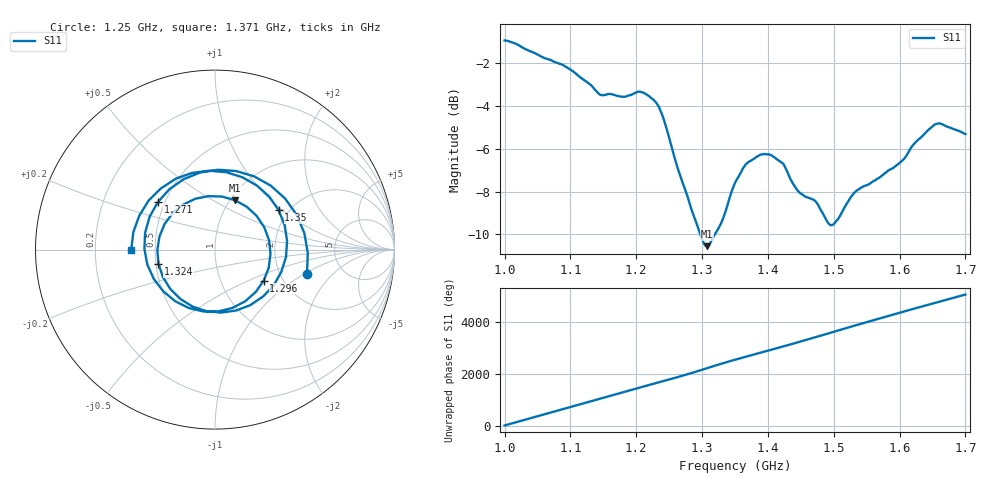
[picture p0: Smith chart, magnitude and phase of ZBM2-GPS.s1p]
! NanoVNA-App
! Date: 2026-05-22 19:33:53
! Start: 1GHz Stop: 1.7GHz Points: 401
! S-Parameter data: F S11
# Hz S RI R 50
!  Frequency  S11_Real  S11_Imag
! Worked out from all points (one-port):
!   401 points, 1 GHz to 1.7 GHz, reference 50 ohm
!   lowest |S11| = -10.5 dB at 1.308 GHz (marker M1), VSWR 1.84, Z = 52.6 + j31.8 ohm
!   |S11| at or under -10 dB: 1.297 GHz to 1.319 GHz (21.81 MHz wide, 1.67 % of centre)
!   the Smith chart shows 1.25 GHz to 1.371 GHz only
!   S11 on the Smith chart (normalised r, x): 1.25 GHz: 2.81, -1.05; 1.271 GHz: 0.46, +0.29; 1.296 GHz: 1.60, -0.61; 1.324 GHz: 0.52, -0.09; 1.35 GHz: 1.78, +0.95; 1.371 GHz: 0.36, -0.00
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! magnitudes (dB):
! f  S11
! 1 GHz  -0.9
! 1.087 GHz  -2.1
! 1.145 GHz  -3.5
! 1.175 GHz  -3.6
! 1.205 GHz  -3.3
! 1.224 GHz  -3.7
! 1.236 GHz  -4.2
! 1.25 GHz  -5.5
! 1.262 GHz  -6.9
! 1.271 GHz  -7.7
! 1.296 GHz  -9.9
! 1.303 GHz  -10.4
! 1.308 GHz  -10.5
! 1.324 GHz  -9.8
! 1.35 GHz  -7.6
! 1.371 GHz  -6.6
! 1.39 GHz  -6.3
! 1.406 GHz  -6.3
! 1.423 GHz  -6.7
! 1.438 GHz  -7.6
! 1.45 GHz  -8.1
! 1.472 GHz  -8.5
! 1.495 GHz  -9.6
! 1.506 GHz  -9.3
! 1.525 GHz  -8.3
! 1.613 GHz  -6.2
! 1.656 GHz  -4.8
! 1.7 GHz  -5.3
